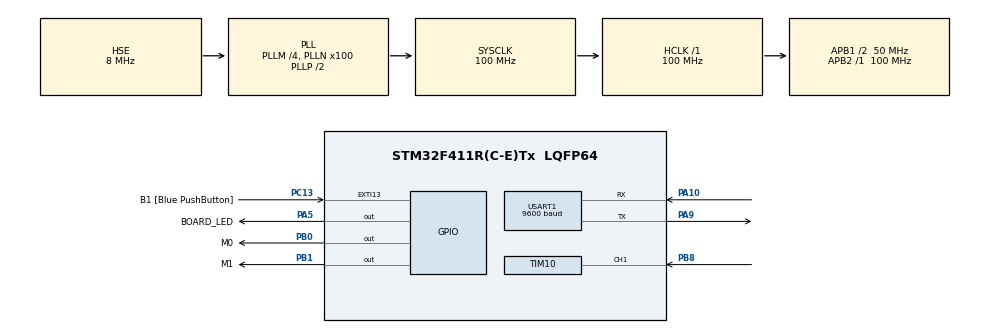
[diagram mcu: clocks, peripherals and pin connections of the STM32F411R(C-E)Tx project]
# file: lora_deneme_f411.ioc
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Dma.Request0=USART1_RX
Dma.Request1=USART1_TX
Dma.USART1_RX.0.Direction=DMA_PERIPH_TO_MEMORY
Dma.USART1_RX.0.FIFOMode=DMA_FIFOMODE_DISABLE
Dma.USART1_RX.0.Instance=DMA2_Stream2
Dma.USART1_RX.0.MemDataAlignment=DMA_MDATAALIGN_BYTE
Dma.USART1_RX.0.MemInc=DMA_MINC_ENABLE
Dma.USART1_RX.0.Mode=DMA_NORMAL
Dma.USART1_RX.0.PeriphDataAlignment=DMA_PDATAALIGN_BYTE
Dma.USART1_RX.0.PeriphInc=DMA_PINC_DISABLE
Dma.USART1_RX.0.Priority=DMA_PRIORITY_LOW
Dma.USART1_TX.1.Direction=DMA_MEMORY_TO_PERIPH
Dma.USART1_TX.1.FIFOMode=DMA_FIFOMODE_DISABLE
Dma.USART1_TX.1.Instance=DMA2_Stream7
Dma.USART1_TX.1.MemDataAlignment=DMA_MDATAALIGN_BYTE
Dma.USART1_TX.1.MemInc=DMA_MINC_ENABLE
Dma.USART1_TX.1.Mode=DMA_NORMAL
Dma.USART1_TX.1.PeriphDataAlignment=DMA_PDATAALIGN_BYTE
Dma.USART1_TX.1.PeriphInc=DMA_PINC_DISABLE
Dma.USART1_TX.1.Priority=DMA_PRIORITY_LOW
FREERTOS.Tasks01=defaultTask,0,128,StartDefaultTask,Default,NULL,Dynamic,NULL,NULL
Mcu.Family=STM32F4
Mcu.Name=STM32F411R(C-E)Tx
Mcu.Package=LQFP64
NVIC.DMA2_Stream2_IRQn=true\:5\:0\:false\:false\:true\:true\:false\:true\:true
NVIC.DMA2_Stream7_IRQn=true\:5\:0\:false\:false\:true\:true\:false\:true\:true
NVIC.PriorityGroup=NVIC_PRIORITYGROUP_4
NVIC.USART1_IRQn=true\:5\:0\:false\:false\:true\:true\:true\:true\:true
PA10.Mode=Asynchronous
PA10.Signal=USART1_RX
PA13.GPIO_Label=TMS
PA13.Mode=Serial_Wire
PA13.Signal=SYS_JTMS-SWDIO
PA14.GPIO_Label=TCK
PA14.Mode=Serial_Wire
PA14.Signal=SYS_JTCK-SWCLK
PA2.GPIO_Label=USART_TX
PA2.Signal=USART2_TX
PA3.GPIO_Label=USART_RX
PA3.Signal=USART2_RX
PA5.GPIO_Label=BOARD_LED
PA5.Signal=GPIO_Output
PA9.Mode=Asynchronous
PA9.Signal=USART1_TX
PB0.GPIO_Label=M0
PB0.Signal=GPIO_Output
PB1.GPIO_Label=M1
PB1.Signal=GPIO_Output
PB3.GPIO_Label=SWO
PB3.Signal=SYS_JTDO-SWO
PB8.Signal=S_TIM10_CH1
PC13-ANTI_TAMP.GPIO_Label=B1 [Blue PushButton]
PC13-ANTI_TAMP.GPIO_ModeDefaultEXTI=GPIO_MODE_IT_FALLING
PC13-ANTI_TAMP.Signal=GPXTI13
PC14-OSC32_IN.Mode=LSE-External-Oscillator
PC14-OSC32_IN.Signal=RCC_OSC32_IN
PC15-OSC32_OUT.Mode=LSE-External-Oscillator
PC15-OSC32_OUT.Signal=RCC_OSC32_OUT
PH0\ -\ OSC_IN.Mode=HSE-External-Clock-Source
PH0\ -\ OSC_IN.Signal=RCC_OSC_IN
PH1\ -\ OSC_OUT.Mode=HSE-External-Clock-Source
PH1\ -\ OSC_OUT.Signal=RCC_OSC_OUT
ProjectManager.HeapSize=0x200
ProjectManager.StackSize=0x400
ProjectManager.TargetToolchain=STM32CubeIDE
RCC.48MHZClocksFreq_Value=50000000
RCC.AHBFreq_Value=100000000
RCC.APB1CLKDivider=RCC_HCLK_DIV2
RCC.APB1Freq_Value=50000000
RCC.APB1TimFreq_Value=100000000
RCC.APB2Freq_Value=100000000
RCC.APB2TimFreq_Value=100000000
RCC.CortexFreq_Value=100000000
RCC.FLatency-AdvancedSettings=FLASH_LATENCY_3
RCC.HCLKFreq_Value=100000000
RCC.HSE_VALUE=8000000
RCC.HSI_VALUE=16000000
RCC.PLLM=4
RCC.PLLN=100
RCC.PLLSourceVirtual=RCC_PLLSOURCE_HSE
RCC.SYSCLKFreq_VALUE=100000000
RCC.SYSCLKSource=RCC_SYSCLKSOURCE_PLLCLK
RCC.VCOOutputFreq_Value=200000000
SH.S_TIM10_CH1.0=TIM10_CH1,Input_Capture1_from_TI1
TIM10.Channel=TIM_CHANNEL_1
USART1.BaudRate=9600
USART1.VirtualMode=VM_ASYNC
VP_FREERTOS_VS_CMSIS_V1.Mode=CMSIS_V1
VP_TIM10_VS_ClockSourceINT.Mode=Enable_Timer
board=NUCLEO-F411RE

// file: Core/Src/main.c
/* **************************ENDUSTRIYEL ELEKTRIK***************************** */
/* *************************ENGINEER:IBRAHIM GURAN**************************** */
/* Not: Bu kod NUCLEO F411 kartı üzerinde verici pozisyondayken denenmiş ve
 * çalışmıştır. Verici bir kart olarak yalnızca "ping" verisini alıcıya gönderir.
 * Bu veri gönderme işlemini değiştirebilir veya alınca vereceği cevabı
 * değiştirerek farklı uygulamalar yapabilirsiniz. Kod üzerinde anlaşılması güç
 * noktaları da yorum satırlarıyla anlatacağım. Bu projede bana destek olan ve
 * bana bu proje üzerinde çalışmama izin veren başta HIKMET ALKILINÇ ve YUSUF OZYER
 * olmak üzere ENDUSTRIYEL ELEKTRIK ARGE MERKEZİ mühendislerine ve doğrudan bağlantı
 * kuramasam da kütüphane oluşturmama yardım eden WARD ALMASARANI'ye teşekkür ederim.
 */
/* USER CODE BEGIN Header */
/**
  ******************************************************************************
  * @file           : main.c
  * @brief          : Main program body
  ******************************************************************************
  * @attention
  *
  * Copyright (c) 2023 STMicroelectronics.
  * All rights reserved.
  *
  * This software is licensed under terms that can be found in the LICENSE file
  * in the root directory of this software component.
  * If no LICENSE file comes with this software, it is provided AS-IS.
  *
  ******************************************************************************
  */
/* USER CODE END Header */
#include "main.h"
#include "cmsis_os.h" // Konfigürasyonda freertosla gelen bir kütüphane

/* USER CODE BEGIN Includes */
#include "FreeRTOS.h"
#include "task.h"		// task kullanmamın sebebi UC'ün yükünü azaltmak ve karışıklığı engellemek, led yakma uygulamasında kullanmayabilirsiniz.
#include "e22900t22d.h" // E22-900T22X modülünün kütüphanesi
/* USER CODE END Includes */

TIM_HandleTypeDef htim10;

UART_HandleTypeDef huart1; //modüle uart üzerinden veri gönderiyoruz.
DMA_HandleTypeDef hdma_usart1_rx; // USART1 kullanmamın sebebi USART2'de STLINK'in olması.
DMA_HandleTypeDef hdma_usart1_tx; // USART2'yi açsam bile TX pinlere gitmediği için kullanamıyorum.

osThreadId defaultTaskHandle;

void SystemClock_Config(void);
static void MX_GPIO_Init(void);
static void MX_DMA_Init(void);
static void MX_USART1_UART_Init(void);
static void MX_TIM10_Init(void);
void StartDefaultTask(void const * argument);

/* USER CODE BEGIN PFP */
// Burada lora modülünün çalışması için önemli olan fonksiyonlar bulunmakta.
// Hepsini fonksiyon içerisinde açıklayacağım. Burada sadece gerekli olan tanımlama işlemi var.
static void led_toggle_task(void *parameter);
static void e22_handle_task(void *parameter);
static void e22_transmission_task(void *parameter);
static void main_e22_transceiverMode(void);
static void main_e22_configurationMode(void);
static void main_lora_packet_receive(uint8_t* dataPacket, uint8_t size);
/* USER CODE END PFP */

int main(void)
{

  /* MCU Configuration--------------------------------------------------------*/

  /* Reset of all peripherals, Initializes the Flash interface and the Systick. */
  HAL_Init();

  /* Configure the system clock */
  SystemClock_Config();

  /* Initialize all configured peripherals */
  MX_GPIO_Init();
  MX_DMA_Init();
  MX_USART1_UART_Init();
  MX_TIM10_Init();
  /* USER CODE BEGIN 2 */
  // E22 LoRa modülünü yapılandırıyoruz.
  e22_lora_init(&huart1,
		  	  	HAL_UART_Transmit_DMA,
				HAL_UARTEx_ReceiveToIdle_DMA,
				main_lora_packet_receive,
				main_e22_configurationMode,
				main_e22_transceiverMode);

  // FREERTOS Task oluşturmayı başlatıyoruz.
  xTaskCreate(led_toggle_task, "Toggle GPIO13", 128, NULL, 1, NULL);
  xTaskCreate(e22_handle_task, "E22 LoRa Handler", 128 * 4, NULL, 1, NULL);
  xTaskCreate(e22_transmission_task, "E22 LoRa Tx Task", 128 * 4, NULL, 1, NULL);

  vTaskStartScheduler();
  /* USER CODE END 2 */

  /* Create the thread(s) */
  /* definition and creation of defaultTask */
  osThreadDef(defaultTask, StartDefaultTask, osPriorityNormal, 0, 128);
  defaultTaskHandle = osThreadCreate(osThread(defaultTask), NULL);

  /* Start scheduler */
  osKernelStart();

  /* We should never get here as control is now taken by the scheduler */
  /* Infinite loop */
  while (1)
  {

  }
}

void SystemClock_Config(void)
{
  RCC_OscInitTypeDef RCC_OscInitStruct = {0};
  RCC_ClkInitTypeDef RCC_ClkInitStruct = {0};

  /** Configure the main internal regulator output voltage
  */
  __HAL_RCC_PWR_CLK_ENABLE();
  __HAL_PWR_VOLTAGESCALING_CONFIG(PWR_REGULATOR_VOLTAGE_SCALE1);

  /** Initializes the RCC Oscillators according to the specified parameters
  * in the RCC_OscInitTypeDef structure.
  */
  RCC_OscInitStruct.OscillatorType = RCC_OSCILLATORTYPE_HSE;
  RCC_OscInitStruct.HSEState = RCC_HSE_BYPASS;
  RCC_OscInitStruct.PLL.PLLState = RCC_PLL_ON;
  RCC_OscInitStruct.PLL.PLLSource = RCC_PLLSOURCE_HSE;
  RCC_OscInitStruct.PLL.PLLM = 4;
  RCC_OscInitStruct.PLL.PLLN = 100;
  RCC_OscInitStruct.PLL.PLLP = RCC_PLLP_DIV2;
  RCC_OscInitStruct.PLL.PLLQ = 4;
  if (HAL_RCC_OscConfig(&RCC_OscInitStruct) != HAL_OK)
  {
    Error_Handler();
  }

  /** Initializes the CPU, AHB and APB buses clocks
  */
  RCC_ClkInitStruct.ClockType = RCC_CLOCKTYPE_HCLK|RCC_CLOCKTYPE_SYSCLK
                              |RCC_CLOCKTYPE_PCLK1|RCC_CLOCKTYPE_PCLK2;
  RCC_ClkInitStruct.SYSCLKSource = RCC_SYSCLKSOURCE_PLLCLK;
  RCC_ClkInitStruct.AHBCLKDivider = RCC_SYSCLK_DIV1;
  RCC_ClkInitStruct.APB1CLKDivider = RCC_HCLK_DIV2;
  RCC_ClkInitStruct.APB2CLKDivider = RCC_HCLK_DIV1;

  if (HAL_RCC_ClockConfig(&RCC_ClkInitStruct, FLASH_LATENCY_3) != HAL_OK)
  {
    Error_Handler();
  }
}

static void MX_TIM10_Init(void)
{

  TIM_IC_InitTypeDef sConfigIC = {0};

  htim10.Instance = TIM10;
  htim10.Init.Prescaler = 0;
  htim10.Init.CounterMode = TIM_COUNTERMODE_UP;
  htim10.Init.Period = 65535;
  htim10.Init.ClockDivision = TIM_CLOCKDIVISION_DIV1;
  htim10.Init.AutoReloadPreload = TIM_AUTORELOAD_PRELOAD_DISABLE;
  if (HAL_TIM_Base_Init(&htim10) != HAL_OK)
  {
    Error_Handler();
  }
  if (HAL_TIM_IC_Init(&htim10) != HAL_OK)
  {
    Error_Handler();
  }
  sConfigIC.ICPolarity = TIM_INPUTCHANNELPOLARITY_RISING;
  sConfigIC.ICSelection = TIM_ICSELECTION_DIRECTTI;
  sConfigIC.ICPrescaler = TIM_ICPSC_DIV1;
  sConfigIC.ICFilter = 0;
  if (HAL_TIM_IC_ConfigChannel(&htim10, &sConfigIC, TIM_CHANNEL_1) != HAL_OK)
  {
    Error_Handler();
  }

}

static void MX_USART1_UART_Init(void)
{

  huart1.Instance = USART1;
  huart1.Init.BaudRate = 9600;
  huart1.Init.WordLength = UART_WORDLENGTH_8B;
  huart1.Init.StopBits = UART_STOPBITS_1;
  huart1.Init.Parity = UART_PARITY_NONE;
  huart1.Init.Mode = UART_MODE_TX_RX;
  huart1.Init.HwFlowCtl = UART_HWCONTROL_NONE;
  huart1.Init.OverSampling = UART_OVERSAMPLING_16;
  if (HAL_UART_Init(&huart1) != HAL_OK)
  {
    Error_Handler();
  }

}

static void MX_DMA_Init(void)
{

  /* DMA controller clock enable */
  __HAL_RCC_DMA2_CLK_ENABLE();

  /* DMA interrupt init */
  /* DMA2_Stream2_IRQn interrupt configuration */
  HAL_NVIC_SetPriority(DMA2_Stream2_IRQn, 5, 0);
  HAL_NVIC_EnableIRQ(DMA2_Stream2_IRQn);
  /* DMA2_Stream7_IRQn interrupt configuration */
  HAL_NVIC_SetPriority(DMA2_Stream7_IRQn, 5, 0);
  HAL_NVIC_EnableIRQ(DMA2_Stream7_IRQn);

}

static void MX_GPIO_Init(void)
{
  GPIO_InitTypeDef GPIO_InitStruct = {0};

  /* GPIO Ports Clock Enable */
  __HAL_RCC_GPIOC_CLK_ENABLE();
  __HAL_RCC_GPIOH_CLK_ENABLE();
  __HAL_RCC_GPIOA_CLK_ENABLE();
  __HAL_RCC_GPIOB_CLK_ENABLE();

  /*Configure GPIO pin Output Level */
  HAL_GPIO_WritePin(BOARD_LED_GPIO_Port, BOARD_LED_Pin, GPIO_PIN_RESET);

  /*Configure GPIO pin Output Level */
  HAL_GPIO_WritePin(GPIOB, M0_Pin|M1_Pin, GPIO_PIN_RESET);

  /*Configure GPIO pin : B1_Pin */
  GPIO_InitStruct.Pin = B1_Pin;
  GPIO_InitStruct.Mode = GPIO_MODE_IT_FALLING;
  GPIO_InitStruct.Pull = GPIO_NOPULL;
  HAL_GPIO_Init(B1_GPIO_Port, &GPIO_InitStruct);

  /*Configure GPIO pins : USART_TX_Pin USART_RX_Pin */
  GPIO_InitStruct.Pin = USART_TX_Pin|USART_RX_Pin;
  GPIO_InitStruct.Mode = GPIO_MODE_AF_PP;
  GPIO_InitStruct.Pull = GPIO_NOPULL;
  GPIO_InitStruct.Speed = GPIO_SPEED_FREQ_VERY_HIGH;
  GPIO_InitStruct.Alternate = GPIO_AF7_USART2;
  HAL_GPIO_Init(GPIOA, &GPIO_InitStruct);

  /*Configure GPIO pin : BOARD_LED_Pin */
  GPIO_InitStruct.Pin = BOARD_LED_Pin;
  GPIO_InitStruct.Mode = GPIO_MODE_OUTPUT_PP;
  GPIO_InitStruct.Pull = GPIO_NOPULL;
  GPIO_InitStruct.Speed = GPIO_SPEED_FREQ_LOW;
  HAL_GPIO_Init(BOARD_LED_GPIO_Port, &GPIO_InitStruct);

  /*Configure GPIO pins : M0_Pin M1_Pin */
  GPIO_InitStruct.Pin = M0_Pin|M1_Pin;
  GPIO_InitStruct.Mode = GPIO_MODE_OUTPUT_PP;
  GPIO_InitStruct.Pull = GPIO_NOPULL;
  GPIO_InitStruct.Speed = GPIO_SPEED_FREQ_LOW;
  HAL_GPIO_Init(GPIOB, &GPIO_InitStruct);

}

/* USER CODE BEGIN 4 */
static void led_toggle_task(void *parameter)
{
  static TickType_t xLastWakeTime; //görevin periyodik olarak çalışmasını sağlamak için
  const TickType_t xPeriod = pdMS_TO_TICKS(1000);  // 1 saniye delay
  //pdMS_TO_TICKS makrosu, milisaniye cinsinden verilen değeri FreeRTOS'un tick sayısına dönüştürür.​
  xLastWakeTime = xTaskGetTickCount();
  //Geçerli tick sayısı alınarak xLastWakeTime değişkenine atanıyor. Bu, görevin doğru periyotlarla
  //çalışmasını sağlamak için başlangıç referansı olarak kullanılır.

  for(;;) //sonsuz döngü
  {
    vTaskDelayUntil(&xLastWakeTime, xPeriod);
    //Görev, xLastWakeTime zamanından itibaren xPeriod süresi kadar bekler.
    //Bu fonksiyon, görevin kesin periyotlarla çalışmasını sağlar ve
    //zamanlamadaki kaymaları önler.
   // HAL_GPIO_TogglePin(BOARD_LED_GPIO_Port, BOARD_LED_Pin);
  }
}

// E22 LoRa modülünün çalışma döngüsünü kontrol etmek için yapılmış bir background task’tır.
static void e22_handle_task(void *parameter)
{
  static TickType_t xLastWakeTime;
  const TickType_t xPeriod = pdMS_TO_TICKS(100);
  xLastWakeTime = xTaskGetTickCount();

  for(;;)
  {
    vTaskDelayUntil(&xLastWakeTime, xPeriod);
    // E22 LoRa modülünün yönetim fonksiyonu çağrılır.
    // Bu fonksiyon, modülün durumunu kontrol eder ve gerekli işlemleri yapar.
    e22_lora_manager();
  }
}

static void e22_transmission_task(void *parameter)
{
  static TickType_t xLastWakeTime;
  const TickType_t xPeriod = pdMS_TO_TICKS(1000);
  xLastWakeTime = xTaskGetTickCount();

  const uint8_t packetSize = 4; //  Gönderilecek paketin boyutu
  const uint8_t receiverAddress = 0x09; // Alıcının adresi
  const uint8_t ComChannel = 0x06; //  İletişim kanalı
  uint8_t packet[5] = "ping"; // Gönderilecek veri paketi

  for(;;)
  {
    vTaskDelayUntil(&xLastWakeTime, xPeriod);
    e22_lora_transnit(packet, packetSize, receiverAddress, ComChannel);
    // iletimi başlat, iletimdeyken ledi toggle yap
    HAL_GPIO_TogglePin(BOARD_LED_GPIO_Port, BOARD_LED_Pin);
  }
}

static void main_e22_transceiverMode(void)
{
  // F411'de M0 ve M1 pinleri kullanılmıyor
}

static void main_e22_configurationMode(void)
{
  // F411'de M0 ve M1 pinleri kullanılmıyor
}
// UART ile bir veri gönderme işlemi tamamlandığında otomatik olarak çağrılır.
void HAL_UART_TxCpltCallback(UART_HandleTypeDef *huart)
{
  e22_lora_make_ready();
// Bu fonksiyon, E22 modülünü yeni bir işleme (örneğin başka bir paket gönderimi)
// hazır duruma getirmek için çağrılır.
// Gönderim tamamlandıktan sonra sistemin yeni işlem yapabilmesi
// için tetikleme yapılmış olur.

}
// UART üzerinden veri alımı tamamlandığında otomatik olarak
// çağrılan bir HAL fonksiyonudur (DMA veya kesmeyle çalıştığında kullanılır).
void HAL_UARTEx_RxEventCallback(UART_HandleTypeDef *huart, uint16_t Size)
{
  e22_lora_reception_complete(Size);
// Bu fonksiyon, alınan verinin işlenmesini başlatır.
// Alınan Size kadar byte’lık veriyi ele alacak şekilde E22 modülünün
// işleyici fonksiyonuna yönlendirir.
}

// Bu fonksiyon, gelen LoRa paketlerini yorumlamak için tasarlanmıştır.
// Veriyi alır, içerik kontrolü yapar ve belirli komutlara karşı tepki verir.
static void main_lora_packet_receive(uint8_t* dataPacket, uint8_t size)
{
  uint8_t loraPacket[MAX_DATA_PACKET_SIZE] = {0}; // Gelen paketi tutmak için sıfırlarla başlatılmış bir tampon (buffer) oluşturuluyor.
  memcpy(&loraPacket, dataPacket, size);
 //Gelen veri (dataPacket) size kadar loraPacket tamponuna kopyalanıyor.

  if (0 == memcmp(loraPacket, "pong", size))
  {
	  // Kopyalanan veri ile "pong" kelimesi aynı mı diye karşılaştırma yapılır.
	  // memcmp sonucu 0 ise iki veri aynıdır.
    HAL_GPIO_TogglePin(BOARD_LED_GPIO_Port, BOARD_LED_Pin);
    // Eğer gelen veri "pong" ise, bir LED’in durumu değiştirilir (açıkken kapanır, kapalıysa açılır).
  }
}
/* USER CODE END 4 */

void StartDefaultTask(void const * argument)
{
  for(;;)
  {
    osDelay(1);
  }
}

void Error_Handler(void)
{
  __disable_irq();
  while (1)
  {
  }
}
